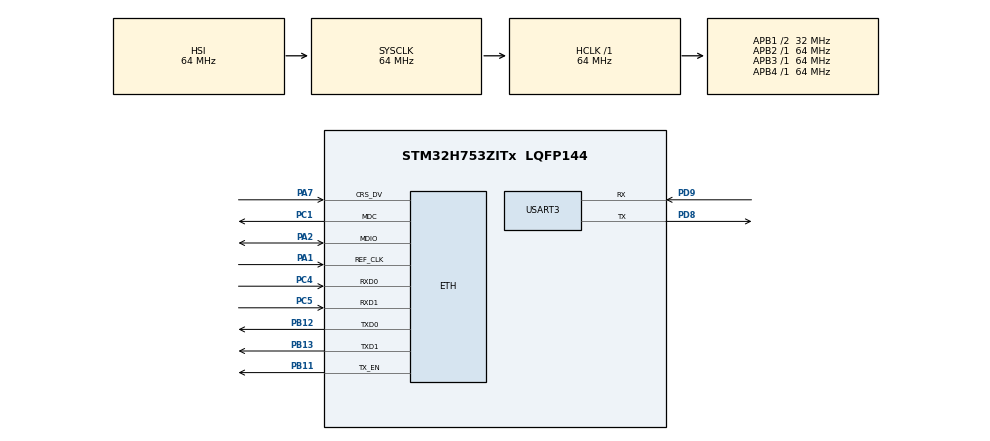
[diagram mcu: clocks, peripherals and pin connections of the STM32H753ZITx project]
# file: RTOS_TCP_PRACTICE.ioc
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CORTEX_M7.AccessPermission_S-Cortex_Memory_Protection_Unit_Region1_Settings_S=MPU_REGION_FULL_ACCESS
CORTEX_M7.BaseAddress_S-Cortex_Memory_Protection_Unit_Region1_Settings_S=0x30000000
CORTEX_M7.CPU_DCache=Enabled
CORTEX_M7.CPU_ICache=Enabled
CORTEX_M7.DisableExec_S-Cortex_Memory_Protection_Unit_Region1_Settings_S=MPU_INSTRUCTION_ACCESS_DISABLE
CORTEX_M7.Enable_S-Cortex_Memory_Protection_Unit_Region1_Settings_S=MPU_REGION_ENABLE
CORTEX_M7.IsShareable_S-Cortex_Memory_Protection_Unit_Region1_Settings_S=MPU_ACCESS_SHAREABLE
CORTEX_M7.Size_S-Cortex_Memory_Protection_Unit_Region1_Settings_S=MPU_REGION_SIZE_64KB
CORTEX_M7.TypeExtField_S-Cortex_Memory_Protection_Unit_Region1_Settings_S=MPU_TEX_LEVEL1
CORTEX_M7.default_mode_Activation=1
ETH.MediaInterface=HAL_ETH_RMII_MODE
FREERTOS.Tasks01=defaultTask,24,128,StartDefaultTask,Default,NULL,Dynamic,NULL,NULL
LWIP.BSP.number=1
LWIP.IP_ADDRESS=192.168.001.002
LWIP.LWIP_DHCP=0
LWIP.NETMASK_ADDRESS=255.255.255.000
LWIP.Version=v2.1.2_Cube
LWIP0.BSP.STBoard=false
LWIP0.BSP.api=BSP_COMPONENT_DRIVER
LWIP0.BSP.component=LAN8742
LWIP0.BSP.instance=LAN8742
LWIP0.BSP.name=Driver_PHY
LWIP0.BSP.semaphore=S_LAN8742
LWIP0.BSP.solution=LAN8742
Mcu.Family=STM32H7
Mcu.Name=STM32H753ZITx
Mcu.Package=LQFP144
NVIC.ETH_IRQn=true\:5\:0\:false\:false\:true\:true\:true\:true\:true
NVIC.PriorityGroup=NVIC_PRIORITYGROUP_4
NVIC.TIM6_DAC_IRQn=true\:15\:0\:false\:false\:true\:false\:false\:true\:true
NVIC.TimeBase=TIM6_DAC_IRQn
NVIC.TimeBaseIP=TIM6
PA1.Mode=RMII
PA1.Signal=ETH_REF_CLK
PA13\ (JTMS/SWDIO).Mode=Serial_Wire
PA13\ (JTMS/SWDIO).Signal=DEBUG_JTMS-SWDIO
PA14\ (JTCK/SWCLK).Mode=Serial_Wire
PA14\ (JTCK/SWCLK).Signal=DEBUG_JTCK-SWCLK
PA2.Mode=RMII
PA2.Signal=ETH_MDIO
PA7.Mode=RMII
PA7.Signal=ETH_CRS_DV
PB11.Mode=RMII
PB11.Signal=ETH_TX_EN
PB12.Mode=RMII
PB12.Signal=ETH_TXD0
PB13.Mode=RMII
PB13.Signal=ETH_TXD1
PC1.Mode=RMII
PC1.Signal=ETH_MDC
PC4.Mode=RMII
PC4.Signal=ETH_RXD0
PC5.Mode=RMII
PC5.Signal=ETH_RXD1
PD8.Mode=Asynchronous
PD8.Signal=USART3_TX
PD9.Mode=Asynchronous
PD9.Signal=USART3_RX
ProjectManager.HeapSize=0x200
ProjectManager.StackSize=0x400
ProjectManager.TargetToolchain=CMake
RCC.ADCFreq_Value=129000000
RCC.APB1Freq_Value=32000000
RCC.APB2Freq_Value=64000000
RCC.APB3Freq_Value=64000000
RCC.APB4Freq_Value=64000000
RCC.CortexFreq_Value=64000000
RCC.D2PPRE1=RCC_APB1_DIV2
RCC.HCLKFreq_Value=64000000
RCC.SYSCLKFreq_VALUE=64000000
RCC.USBFreq_Value=129000000
USART3.VirtualMode-Asynchronous=VM_ASYNC
VP_FREERTOS_VS_CMSIS_V2.Mode=CMSIS_V2
VP_LWIP_VS_Enabled.Mode=Enabled
VP_MEMORYMAP_VS_MEMORYMAP.Mode=CurAppReg
VP_SYS_VS_tim6.Mode=TIM6
board=custom

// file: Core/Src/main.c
/* USER CODE BEGIN Header */
/**
  ******************************************************************************
  * @file           : main.c
  * @brief          : Main program body
  ******************************************************************************
  * @attention
  *
  * Copyright (c) 2026 STMicroelectronics.
  * All rights reserved.
  *
  * This software is licensed under terms that can be found in the LICENSE file
  * in the root directory of this software component.
  * If no LICENSE file comes with this software, it is provided AS-IS.
  *
  ******************************************************************************
  */
/* USER CODE END Header */
#include "main.h"
#include "cmsis_os.h"
#include "lwip.h"

/* USER CODE BEGIN Includes */
#include <stdio.h>
#include "sockets.h"
#include "FreeRTOS.h"
#include "task.h"
/* USER CODE END Includes */

UART_HandleTypeDef huart3;

/* Definitions for defaultTask */
osThreadId_t defaultTaskHandle;
const osThreadAttr_t defaultTask_attributes = {
  .name = "defaultTask",
  .stack_size = 128 * 4,
  .priority = (osPriority_t) osPriorityNormal,
};

void SystemClock_Config(void);
static void MPU_Config(void);
static void MX_GPIO_Init(void);
static void MX_USART3_UART_Init(void);
void StartDefaultTask(void *argument);

/* USER CODE BEGIN PFP */

int __io_putchar(int ch) {

  if (ch == '\n') {
    uint8_t cr = '\r';
    HAL_UART_Transmit(&huart3, &cr, 1, HAL_MAX_DELAY);
  }
  char cha = ch;
  HAL_UART_Transmit(&huart3, (uint8_t*) &cha, 1, HAL_MAX_DELAY);
  return ch;
}

/* USER CODE END PFP */

int main(void)
{

  /* MPU Configuration--------------------------------------------------------*/
  MPU_Config();

  /* Enable the CPU Cache */

  /* Enable I-Cache---------------------------------------------------------*/
  SCB_EnableICache();

  /* Enable D-Cache---------------------------------------------------------*/
  SCB_EnableDCache();

  /* MCU Configuration--------------------------------------------------------*/

  /* Reset of all peripherals, Initializes the Flash interface and the Systick. */
  HAL_Init();

  /* Configure the system clock */
  SystemClock_Config();

  /* Initialize all configured peripherals */
  MX_GPIO_Init();
  MX_USART3_UART_Init();
  /* USER CODE BEGIN 2 */

  printf("Main Block Started\r\n");

  /* USER CODE END 2 */

  /* Init scheduler */
  osKernelInitialize();

  /* Create the thread(s) */
  /* creation of defaultTask */
  defaultTaskHandle = osThreadNew(StartDefaultTask, NULL, &defaultTask_attributes);

  /* Start scheduler */
  osKernelStart();

  /* We should never get here as control is now taken by the scheduler */

  /* Infinite loop */
  while (1)
  {

  }
}

void SystemClock_Config(void)
{
  RCC_OscInitTypeDef RCC_OscInitStruct = {0};
  RCC_ClkInitTypeDef RCC_ClkInitStruct = {0};

  /** Supply configuration update enable
  */
  HAL_PWREx_ConfigSupply(PWR_LDO_SUPPLY);

  /** Configure the main internal regulator output voltage
  */
  __HAL_PWR_VOLTAGESCALING_CONFIG(PWR_REGULATOR_VOLTAGE_SCALE3);

  while(!__HAL_PWR_GET_FLAG(PWR_FLAG_VOSRDY)) {}

  /** Initializes the RCC Oscillators according to the specified parameters
  * in the RCC_OscInitTypeDef structure.
  */
  RCC_OscInitStruct.OscillatorType = RCC_OSCILLATORTYPE_HSI;
  RCC_OscInitStruct.HSIState = RCC_HSI_DIV1;
  RCC_OscInitStruct.HSICalibrationValue = RCC_HSICALIBRATION_DEFAULT;
  RCC_OscInitStruct.PLL.PLLState = RCC_PLL_NONE;
  if (HAL_RCC_OscConfig(&RCC_OscInitStruct) != HAL_OK)
  {
    Error_Handler();
  }

  /** Initializes the CPU, AHB and APB buses clocks
  */
  RCC_ClkInitStruct.ClockType = RCC_CLOCKTYPE_HCLK|RCC_CLOCKTYPE_SYSCLK
                              |RCC_CLOCKTYPE_PCLK1|RCC_CLOCKTYPE_PCLK2
                              |RCC_CLOCKTYPE_D3PCLK1|RCC_CLOCKTYPE_D1PCLK1;
  RCC_ClkInitStruct.SYSCLKSource = RCC_SYSCLKSOURCE_HSI;
  RCC_ClkInitStruct.SYSCLKDivider = RCC_SYSCLK_DIV1;
  RCC_ClkInitStruct.AHBCLKDivider = RCC_HCLK_DIV1;
  RCC_ClkInitStruct.APB3CLKDivider = RCC_APB3_DIV1;
  RCC_ClkInitStruct.APB1CLKDivider = RCC_APB1_DIV2;
  RCC_ClkInitStruct.APB2CLKDivider = RCC_APB2_DIV1;
  RCC_ClkInitStruct.APB4CLKDivider = RCC_APB4_DIV1;

  if (HAL_RCC_ClockConfig(&RCC_ClkInitStruct, FLASH_LATENCY_1) != HAL_OK)
  {
    Error_Handler();
  }
}

static void MX_USART3_UART_Init(void)
{

  huart3.Instance = USART3;
  huart3.Init.BaudRate = 115200;
  huart3.Init.WordLength = UART_WORDLENGTH_8B;
  huart3.Init.StopBits = UART_STOPBITS_1;
  huart3.Init.Parity = UART_PARITY_NONE;
  huart3.Init.Mode = UART_MODE_TX_RX;
  huart3.Init.HwFlowCtl = UART_HWCONTROL_NONE;
  huart3.Init.OverSampling = UART_OVERSAMPLING_16;
  huart3.Init.OneBitSampling = UART_ONE_BIT_SAMPLE_DISABLE;
  huart3.Init.ClockPrescaler = UART_PRESCALER_DIV1;
  huart3.AdvancedInit.AdvFeatureInit = UART_ADVFEATURE_NO_INIT;
  if (HAL_UART_Init(&huart3) != HAL_OK)
  {
    Error_Handler();
  }
  if (HAL_UARTEx_SetTxFifoThreshold(&huart3, UART_TXFIFO_THRESHOLD_1_8) != HAL_OK)
  {
    Error_Handler();
  }
  if (HAL_UARTEx_SetRxFifoThreshold(&huart3, UART_RXFIFO_THRESHOLD_1_8) != HAL_OK)
  {
    Error_Handler();
  }
  if (HAL_UARTEx_DisableFifoMode(&huart3) != HAL_OK)
  {
    Error_Handler();
  }

}

static void MX_GPIO_Init(void)
{

  /* GPIO Ports Clock Enable */
  __HAL_RCC_GPIOC_CLK_ENABLE();
  __HAL_RCC_GPIOA_CLK_ENABLE();
  __HAL_RCC_GPIOB_CLK_ENABLE();
  __HAL_RCC_GPIOD_CLK_ENABLE();

}

/* USER CODE BEGIN 4 */
[[gnu::section(".LWIP_RAM")]] volatile uint8_t LWIP_RAM[16000];

uint8_t eth_rx_buf[128];

void vApplicationStackOverflowHook(TaskHandle_t xTask, char *pcTaskName) {
  (void) xTask;
  taskDISABLE_INTERRUPTS();
  printf("Stack overflow in task: %s\r\n", pcTaskName);
  while(1);
}
/* USER CODE END 4 */

void StartDefaultTask(void *argument)
{
  /* init code for LWIP */
  MX_LWIP_Init();
  /* USER CODE BEGIN 5 */
  /* Infinite loop */

  (void) LWIP_RAM[0];

  int sock = lwip_socket(AF_INET, SOCK_STREAM, 0);

  struct sockaddr_in serveradd;
  serveradd.sin_family = AF_INET;
  serveradd.sin_addr.s_addr = htonl(INADDR_ANY);
  serveradd.sin_port = htons(8000);

  if((lwip_bind(sock, (struct sockaddr*) &serveradd, sizeof(serveradd))) != ERR_OK) {
    printf("socket bind failed...\n");
    while(1) osDelay(1000);
  }

  UBaseType_t space = uxTaskGetStackHighWaterMark(NULL);
  printf("SPACE LEFT: %lu \n", space);

  printf("Socket successfully bound!\n");

  if((lwip_listen(sock, 5)) != ERR_OK) {
    printf("Listen failed...\n");
    while(1);
  }

  printf("Server listening..\n");

  // Accept the data packet from client and verification
  struct sockaddr_in cli;
  socklen_t len = sizeof(cli);
  int connfd = lwip_accept(sock, (struct sockaddr*) &cli, &len);
  if(connfd < 0) {
    printf("server accept failed...\n");
    while(1);
  }

  space = uxTaskGetStackHighWaterMark(NULL);
  printf("SPACE LEFT: %lu \n", space);

  printf("server accept the client...\n");

  struct pollfd pfd = {
    .fd = connfd,
    .events = POLLIN | POLLRDNORM,
    .revents = 0
  };

  while(1) {
    int ret = lwip_poll(&pfd, 1, 1000);

    if(ret > 0) {
      if(pfd.revents == POLLIN) {
        ssize_t bytes = lwip_read(connfd, eth_rx_buf, 128);
        if(bytes > 0) {
          if(lwip_write(connfd, eth_rx_buf, bytes) != bytes) {
            printf("Didnt send all data back\n");
          }
        }
      }
    }

    else if(ret < 0) {
      printf("Poll error\n");
      while(1);
    }

    else printf("No data\n");
  }

  for(;;)
  {
    printf("Running Default Task\r\n");
    osDelay(1000);
  }
  /* USER CODE END 5 */
}

 /* MPU Configuration */

void MPU_Config(void)
{
  MPU_Region_InitTypeDef MPU_InitStruct = {0};

  /* Disables the MPU */
  HAL_MPU_Disable();

  /** Initializes and configures the Region and the memory to be protected
  */
  MPU_InitStruct.Enable = MPU_REGION_ENABLE;
  MPU_InitStruct.Number = MPU_REGION_NUMBER0;
  MPU_InitStruct.BaseAddress = 0x0;
  MPU_InitStruct.Size = MPU_REGION_SIZE_4GB;
  MPU_InitStruct.SubRegionDisable = 0x87;
  MPU_InitStruct.TypeExtField = MPU_TEX_LEVEL0;
  MPU_InitStruct.AccessPermission = MPU_REGION_NO_ACCESS;
  MPU_InitStruct.DisableExec = MPU_INSTRUCTION_ACCESS_DISABLE;
  MPU_InitStruct.IsShareable = MPU_ACCESS_SHAREABLE;
  MPU_InitStruct.IsCacheable = MPU_ACCESS_NOT_CACHEABLE;
  MPU_InitStruct.IsBufferable = MPU_ACCESS_NOT_BUFFERABLE;

  HAL_MPU_ConfigRegion(&MPU_InitStruct);

  /** Initializes and configures the Region and the memory to be protected
  */
  MPU_InitStruct.Number = MPU_REGION_NUMBER1;
  MPU_InitStruct.BaseAddress = 0x30000000;
  MPU_InitStruct.Size = MPU_REGION_SIZE_64KB;
  MPU_InitStruct.SubRegionDisable = 0x0;
  MPU_InitStruct.TypeExtField = MPU_TEX_LEVEL1;
  MPU_InitStruct.AccessPermission = MPU_REGION_FULL_ACCESS;

  HAL_MPU_ConfigRegion(&MPU_InitStruct);
  /* Enables the MPU */
  HAL_MPU_Enable(MPU_PRIVILEGED_DEFAULT);

}

void HAL_TIM_PeriodElapsedCallback(TIM_HandleTypeDef *htim)
{
  if (htim->Instance == TIM6)
  {
    HAL_IncTick();
  }
}

void Error_Handler(void)
{
  __disable_irq();
  while (1)
  {
  }
}
